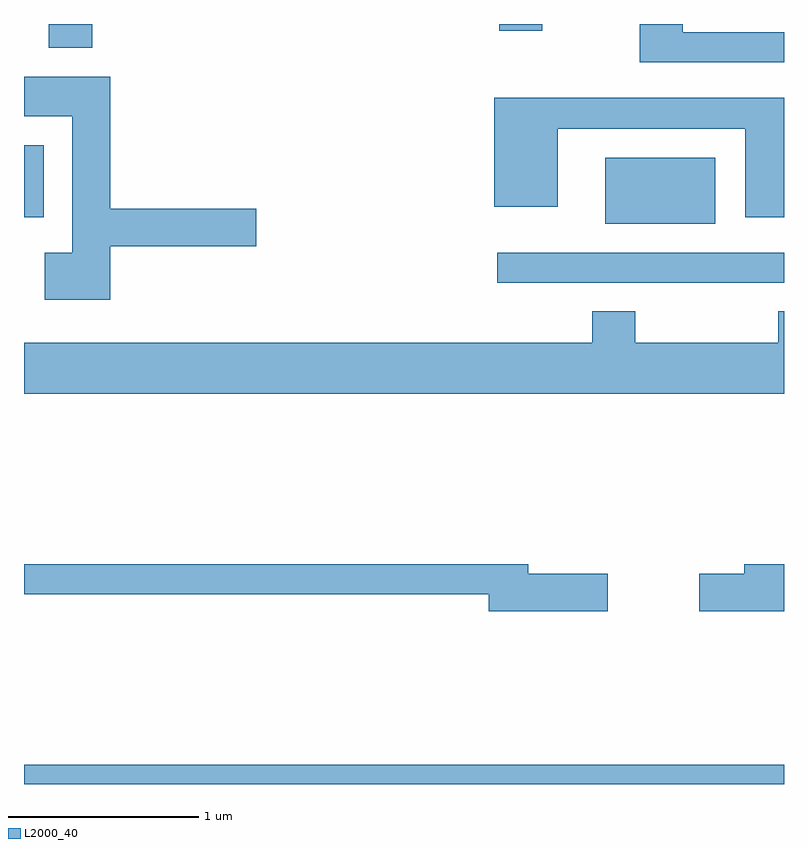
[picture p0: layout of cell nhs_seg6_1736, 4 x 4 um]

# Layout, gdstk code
import gdstk
lib = gdstk.Library(unit=1e-6, precision=1e-09)
def R(c, l, rs):  # rectangles x0, y0, x1, y1
    for r in rs: c.add(gdstk.rectangle(r[:2], r[2:], *l))
def P(c, l, *ps):  # polygons
    for p in ps: c.add(gdstk.Polygon(p, *l))
L2000_40 = (2000, 40)

nhs_seg6_1736 = lib.new_cell('nhs_seg6_1736')
R(nhs_seg6_1736, L2000_40, [(237.611,1590.162,241.611,1590.264), (240.103,1592.801,241.611,1592.959), (240.671,1593.111,241.249,1593.459), (237.611,1593.146,237.714,1593.524), (237.741,1594.036,237.969,1594.162), (240.111,1594.126,240.339,1594.162)])
P(nhs_seg6_1736, L2000_40, [(241.611,1594.119),(241.079,1594.119),(241.079,1594.162),(240.851,1594.162),(240.851,1593.961),(241.611,1593.961)],
  [(238.064,1592.991),(238.834,1592.991),(238.834,1593.189),(238.064,1593.189),(238.064,1593.884),(237.611,1593.884),(237.611,1593.676),(237.866,1593.676),(237.866,1592.959),(237.721,1592.959),(237.721,1592.711),(238.064,1592.711)],
  [(241.611,1593.774),(240.086,1593.774),(240.086,1593.201),(240.419,1593.201),(240.419,1593.611),(241.406,1593.611),(241.406,1593.146),(241.611,1593.146)],
  [(241.611,1592.649),(241.581,1592.649),(241.581,1592.484),(240.829,1592.484),(240.829,1592.649),(240.601,1592.649),(240.601,1592.484),(237.611,1592.484),(237.611,1592.216),(241.611,1592.216)],
  [(240.684,1591.269),(240.264,1591.269),(240.264,1591.319),(237.611,1591.319),(237.611,1591.161),(240.056,1591.161),(240.056,1591.071),(240.684,1591.071)],
  [(241.611,1591.319),(241.401,1591.319),(241.401,1591.269),(241.166,1591.269),(241.166,1591.071),(241.611,1591.071)])

lib.write_gds('nhs_seg6_1736.gds')
